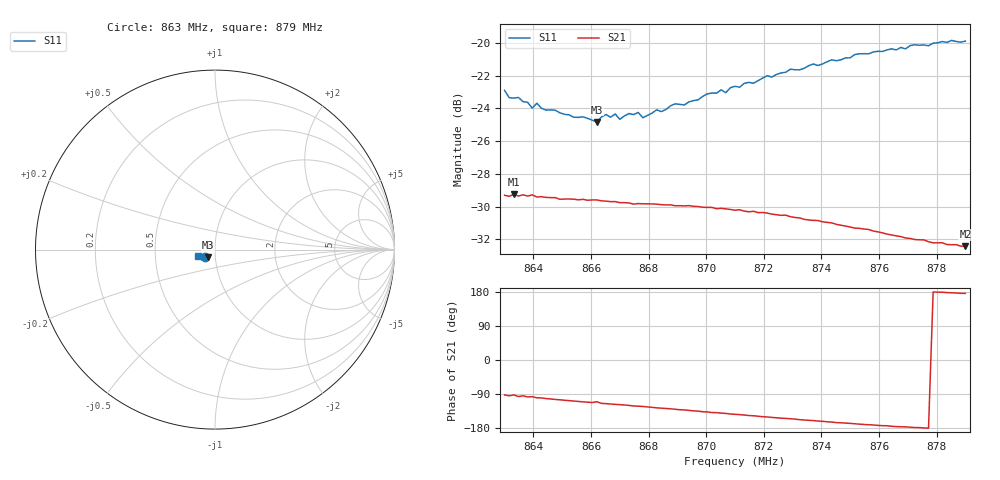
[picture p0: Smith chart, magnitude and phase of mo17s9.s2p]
# HZ S RI R 50
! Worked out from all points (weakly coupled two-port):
!   101 points, 863 MHz to 879 MHz, reference 50 ohm
!   highest |S21| = -29.25 dB at 863.32 MHz (marker M1); lowest = -32.4 dB at 879 MHz (marker M2)
!   lowest |S11| = -24.8 dB at 866.2 MHz (marker M3), VSWR 1.12, Z = 46.1 - j3.89 ohm
!   |S11| at or under -10 dB: start of sweep to end of sweep
!   S12 and S22 are empty: the file has one direction only
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8.63e8  -0.0567 -0.0436  -0.00132 -0.0342  0 0  0 0
8.6316e8  -0.0531 -0.0425  -0.00263 -0.0339  0 0  0 0
8.6332e8  -0.0524 -0.0431  -0.00128 -0.0345  0 0  0 0
8.638e8  -0.051 -0.0416  -0.00447 -0.0338  0 0  0 0
8.6396e8  -0.0476 -0.0416  -0.00404 -0.0341  0 0  0 0
8.6412e8  -0.0502 -0.0419  -0.00578 -0.0333  0 0  0 0
8.6444e8  -0.0471 -0.0408  -0.0069 -0.033  0 0  0 0
8.6572e8  -0.0411 -0.043  -0.0116 -0.0312  0 0  0 0
8.662e8  -0.0389 -0.0421  -0.0114 -0.0311  0 0  0 0
8.6652e8  -0.0399 -0.0455  -0.014 -0.0298  0 0  0 0
8.6684e8  -0.0399 -0.0457  -0.0149 -0.0292  0 0  0 0
8.67e8  -0.0378 -0.0445  -0.0152 -0.0288  0 0  0 0
8.6732e8  -0.039 -0.0467  -0.0161 -0.0282  0 0  0 0
8.6764e8  -0.0384 -0.0478  -0.017 -0.0275  0 0  0 0
8.678e8  -0.0361 -0.0468  -0.0174 -0.0272  0 0  0 0
8.6828e8  -0.0364 -0.0507  -0.019 -0.026  0 0  0 0
8.6844e8  -0.0368 -0.0496  -0.0194 -0.0256  0 0  0 0
8.7068e8  -0.0411 -0.0572  -0.0242 -0.0196  0 0  0 0
8.71e8  -0.0447 -0.0586  -0.0247 -0.0184  0 0  0 0
8.7372e8  -0.0596 -0.0623  -0.027 -0.00989  0 0  0 0
8.7644e8  -0.0798 -0.0532  -0.0258 -0.0023  0 0  0 0
8.79e8  -0.0952 -0.0344  -0.0239 0.00177  0 0  0 0
